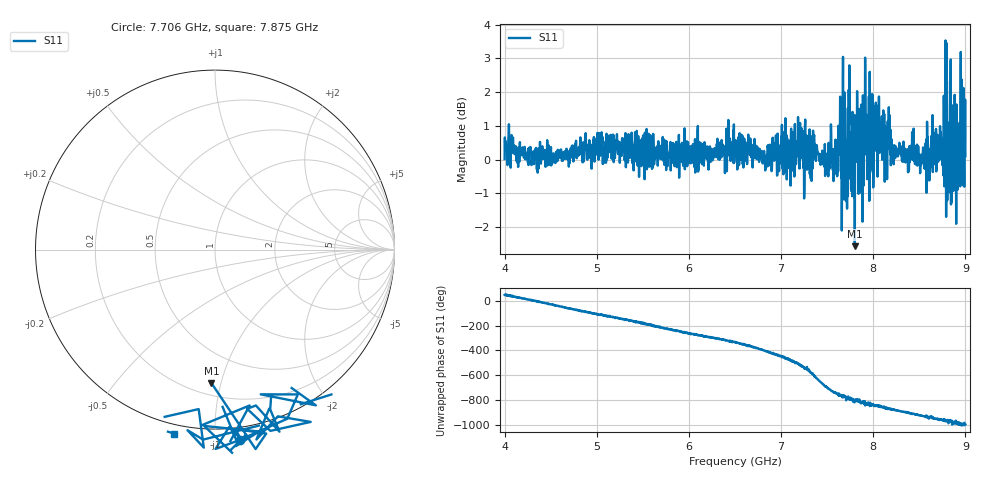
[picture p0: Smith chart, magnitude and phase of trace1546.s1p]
! Created with skrf 1.8.0 (http://scikit-rf.org).
# Hz S RI R 50.0
!freq ReS11 ImS11
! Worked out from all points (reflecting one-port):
!   1601 points, 4 GHz to 9 GHz, reference 50 ohm
!   lowest |S11| = -2.6 dB at 7.8 GHz (marker M1), VSWR 6.81, Z = 14 - j46.7 ohm
!   phase of S11 starts at 49 deg and turns -1046 deg over the sweep
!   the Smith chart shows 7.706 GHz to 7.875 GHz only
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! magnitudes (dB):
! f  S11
! 4 GHz  0.0
! 4.066 GHz  -0.2
! 4.625 GHz  0.0
! 5.25 GHz  -0.1
! 5.875 GHz  0.1
! 6.5 GHz  0.3
! 6.825 GHz  0.0
! 7.125 GHz  0.7
! 7.372 GHz  0.4
! 7.503 GHz  -0.3
! 7.594 GHz  -0.3
! 7.647 GHz  0.2
! 7.688 GHz  2.0
! 7.703 GHz  -1.2
! 7.75 GHz  -0.1
! 7.775 GHz  1.4
! 7.8 GHz  -2.6
! 7.859 GHz  0.9
! 7.928 GHz  1.1
! 7.981 GHz  0.2
! 8.05 GHz  1.4
! 8.375 GHz  0.0
! 8.425 GHz  0.6
! 8.603 GHz  -0.2
! 8.822 GHz  0.5
! 8.919 GHz  -0.3
! 8.956 GHz  0.2
! 9 GHz  0.1
